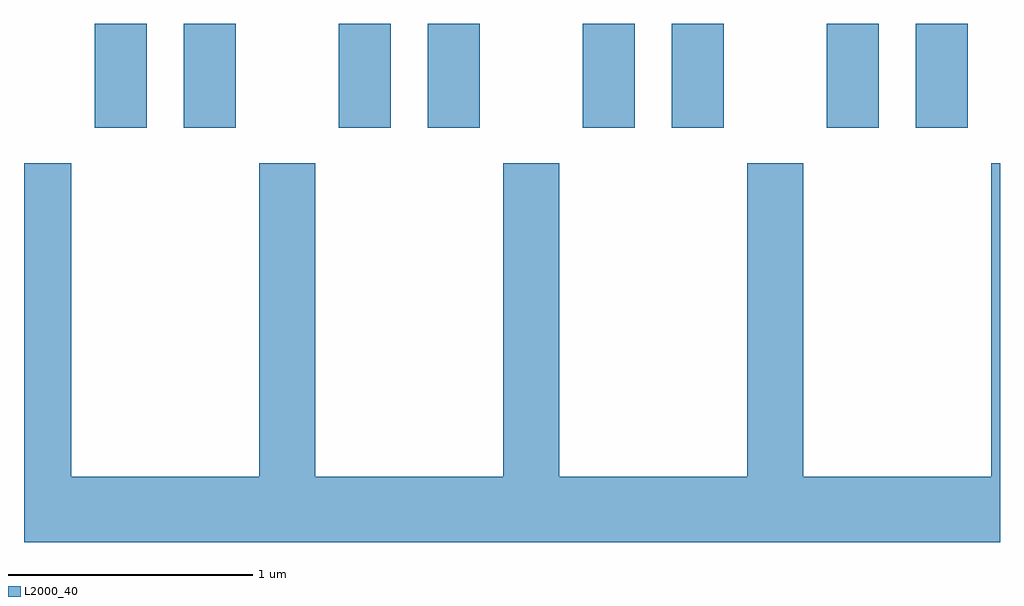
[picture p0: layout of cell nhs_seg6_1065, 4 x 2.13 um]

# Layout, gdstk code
import gdstk
lib = gdstk.Library(unit=1e-6, precision=1e-09)
def R(c, l, rs):  # rectangles x0, y0, x1, y1
    for r in rs: c.add(gdstk.rectangle(r[:2], r[2:], *l))
def P(c, l, *ps):  # polygons
    for p in ps: c.add(gdstk.Polygon(p, *l))
L2000_40 = (2000, 40)

nhs_seg6_1065 = lib.new_cell('nhs_seg6_1065')
R(nhs_seg6_1065, L2000_40, [(217.901,1551.736,218.114,1552.162), (218.266,1551.736,218.479,1552.162), (218.901,1551.736,219.114,1552.162), (219.266,1551.736,219.479,1552.162), (219.901,1551.736,220.114,1552.162), (220.266,1551.736,220.479,1552.162), (220.901,1551.736,221.114,1552.162), (221.266,1551.736,221.479,1552.162)])
P(nhs_seg6_1065, L2000_40, [(221.611,1551.589),(221.576,1551.589),(221.576,1550.304),(220.804,1550.304),(220.804,1551.589),(220.576,1551.589),(220.576,1550.304),(219.804,1550.304),(219.804,1551.589),(219.576,1551.589),(219.576,1550.304),(218.804,1550.304),(218.804,1551.589),(218.576,1551.589),(218.576,1550.304),(217.804,1550.304),(217.804,1551.589),(217.611,1551.589),(217.611,1550.036),(221.611,1550.036)])

lib.write_gds('nhs_seg6_1065.gds')
